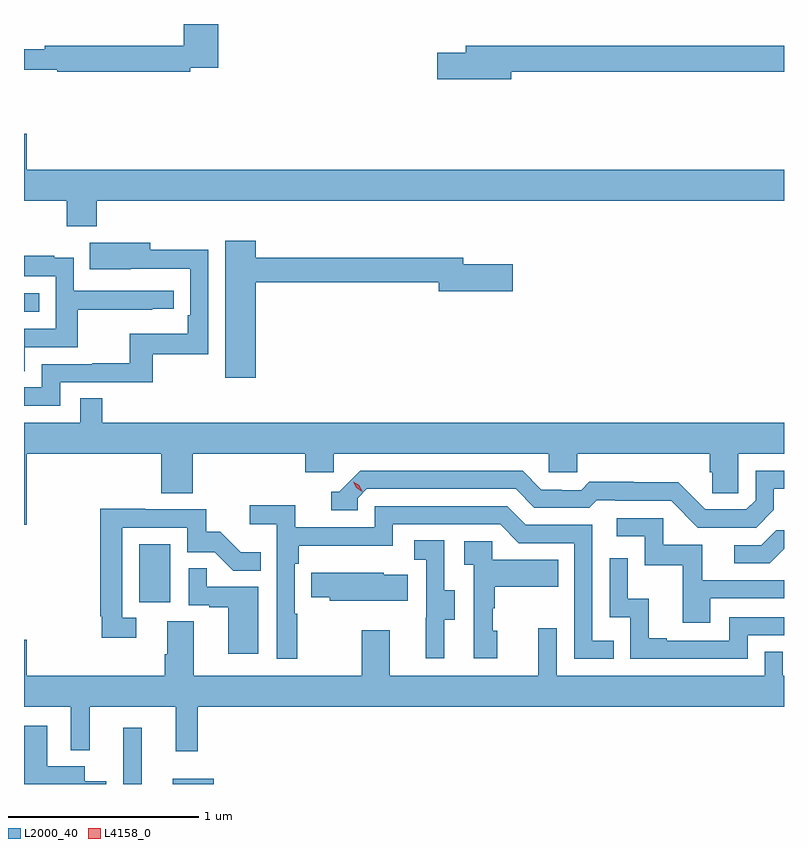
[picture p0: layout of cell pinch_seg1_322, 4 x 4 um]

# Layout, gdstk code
import gdstk
lib = gdstk.Library(unit=1e-6, precision=1e-09)
def R(c, l, rs):  # rectangles x0, y0, x1, y1
    for r in rs: c.add(gdstk.rectangle(r[:2], r[2:], *l))
def P(c, l, *ps):  # polygons
    for p in ps: c.add(gdstk.Polygon(p, *l))
L2000_40 = (2000, 40)
L4158_0 = (4158, 0)

pinch_seg1_322 = lib.new_cell('pinch_seg1_322')
R(pinch_seg1_322, L2000_40, [(992.853,555.322,992.95,555.619), (993.113,555.322,993.328,555.349), (992.936,556.278,993.1,556.585), (992.33,557.808,992.411,557.904)])
P(pinch_seg1_322, L2000_40, [(993.206,559.092),(993.353,559.092),(993.353,559.322),(993.17,559.322),(993.17,559.208),(992.44,559.208),(992.44,559.189),(992.33,559.189),(992.33,559.08),(992.506,559.08),(992.506,559.072),(993.206,559.072)],
  [(994.894,559.072),(996.33,559.072),(996.33,559.208),(994.655,559.208),(994.655,559.172),(994.506,559.172),(994.506,559.03),(994.894,559.03)],
  [(992.714,558.392),(996.33,558.392),(996.33,558.556),(992.344,558.556),(992.344,558.745),(992.33,558.745),(992.33,558.392),(992.554,558.392),(992.554,558.257),(992.714,558.257)],
  [(993.55,557.962),(994.514,557.962),(994.514,557.915),(994.903,557.915),(994.903,558.057),(994.642,558.057),(994.642,558.091),(993.55,558.091),(993.55,558.181),(993.389,558.181),(993.389,557.46),(993.55,557.46)],
  [(992.52,557.436),(993.007,557.436),(993.007,557.583),(993.3,557.583),(993.3,558.134),(992.995,558.134),(992.995,558.172),(992.677,558.172),(992.677,558.032),(992.891,558.032),(992.891,558.033),(993.204,558.033),(993.204,557.788),(993.191,557.788),(993.191,557.692),(992.886,557.692),(992.886,557.537),(992.689,557.537),(992.689,557.532),(992.424,557.532),(992.424,557.409),(992.33,557.409),(992.33,557.313),(992.52,557.313)],
  [(992.335,557.622),(992.612,557.622),(992.612,557.818),(993.005,557.818),(993.005,557.823),(993.118,557.823),(993.118,557.919),(992.592,557.919),(992.592,558.091),(992.489,558.091),(992.489,558.103),(992.33,558.103),(992.33,557.994),(992.496,557.994),(992.496,557.718),(992.33,557.718),(992.33,557.494),(992.335,557.494)],
  [(992.344,557.06),(993.053,557.06),(993.053,556.852),(993.218,556.852),(993.218,557.06),(993.809,557.06),(993.809,556.962),(993.96,556.962),(993.96,557.06),(995.091,557.06),(995.091,556.962),(995.241,556.962),(995.241,557.06),(995.939,557.06),(995.939,556.962),(995.953,556.962),(995.953,556.852),(996.09,556.852),(996.09,557.06),(996.33,557.06),(996.33,557.224),(992.741,557.224),(992.741,557.351),(992.625,557.351),(992.625,557.224),(992.33,557.224),(992.33,556.686),(992.344,556.686)],
  [(996.277,556.765),(996.277,556.875),(996.33,556.875),(996.33,556.971),(996.18,556.971),(996.18,556.815),(996.132,556.767),(995.916,556.767),(995.774,556.909),(995.538,556.909),(995.538,556.912),(995.305,556.912),(995.263,556.869),(995.16,556.869),(995.16,556.872),(995.053,556.872),(994.954,556.971),(994.101,556.971),(993.99,556.86),(993.947,556.86),(993.947,556.764),(994.086,556.764),(994.086,556.827),(994.134,556.875),(994.917,556.875),(995.016,556.776),(995.305,556.776),(995.344,556.815),(995.443,556.815),(995.443,556.812),(995.736,556.812),(995.877,556.671),(996.183,556.671)],
  [(993.769,556.217),(993.756,556.217),(993.756,556.481),(993.775,556.481),(993.775,556.577),(994.272,556.577),(994.272,556.689),(994.836,556.689),(994.935,556.59),(995.226,556.59),(995.226,555.981),(995.435,555.981),(995.435,556.077),(995.322,556.077),(995.322,556.686),(994.972,556.686),(994.873,556.785),(994.176,556.785),(994.176,556.674),(993.758,556.674),(993.758,556.79),(993.519,556.79),(993.519,556.688),(993.66,556.688),(993.66,555.981),(993.769,555.981)],
  [(992.92,556.197),(992.847,556.197),(992.847,556.671),(993.189,556.671),(993.189,556.542),(993.333,556.542),(993.431,556.444),(993.575,556.444),(993.575,556.543),(993.471,556.543),(993.364,556.65),(993.288,556.65),(993.288,556.767),(992.969,556.767),(992.969,556.772),(992.731,556.772),(992.731,556.204),(992.739,556.204),(992.739,556.092),(992.92,556.092)],
  [(995.941,556.299),(996.33,556.299),(996.33,556.395),(995.899,556.395),(995.899,556.581),(995.694,556.581),(995.694,556.722),(995.451,556.722),(995.451,556.626),(995.598,556.626),(995.598,556.473),(995.797,556.473),(995.797,556.17),(995.941,556.17)],
  [(996.33,556.559),(996.33,556.658),(996.29,556.658),(996.21,556.578),(996.069,556.578),(996.069,556.485),(996.256,556.485)],
  [(994.543,556.186),(994.597,556.186),(994.597,556.341),(994.542,556.341),(994.542,556.604),(994.383,556.604),(994.383,556.501),(994.446,556.501),(994.446,556.197),(994.445,556.197),(994.445,555.984),(994.543,555.984)],
  [(994.822,556.128),(994.797,556.128),(994.797,556.247),(994.807,556.247),(994.807,556.361),(995.141,556.361),(995.141,556.501),(994.794,556.501),(994.794,556.599),(994.647,556.599),(994.647,556.475),(994.698,556.475),(994.698,555.984),(994.822,555.984)],
  [(996.138,556.104),(996.33,556.104),(996.33,556.2),(996.042,556.2),(996.042,556.077),(995.713,556.077),(995.713,556.09),(995.618,556.09),(995.618,556.298),(995.508,556.298),(995.508,556.51),(995.412,556.51),(995.412,556.2),(995.52,556.2),(995.52,555.981),(996.138,555.981)],
  [(993.562,556.359),(993.293,556.359),(993.293,556.457),(993.198,556.457),(993.198,556.263),(993.305,556.263),(993.305,556.251),(993.404,556.251),(993.404,556.008),(993.562,556.008)],
  [(994.349,556.423),(994.224,556.423),(994.224,556.435),(993.841,556.435),(993.841,556.306),(993.939,556.306),(993.939,556.286),(994.349,556.286)],
  [(993.245,555.728),(996.33,555.728),(996.33,555.892),(996.324,555.892),(996.324,556.019),(996.228,556.019),(996.228,555.892),(995.133,555.892),(995.133,556.141),(995.036,556.141),(995.036,555.892),(994.255,555.892),(994.255,556.132),(994.108,556.132),(994.108,555.892),(993.223,555.892),(993.223,556.178),(993.083,556.178),(993.083,556.004),(993.071,556.004),(993.071,555.892),(992.344,555.892),(992.344,556.081),(992.33,556.081),(992.33,555.728),(992.577,555.728),(992.577,555.5),(992.675,555.5),(992.675,555.728),(993.128,555.728),(993.128,555.495),(993.245,555.495)],
  [(992.764,555.337),(992.65,555.337),(992.65,555.415),(992.452,555.415),(992.452,555.628),(992.33,555.628),(992.33,555.322),(992.764,555.322)])
P(pinch_seg1_322, L4158_0, [(994.11,556.861),(994.079,556.881),(994.064,556.913),(994.064,556.914),(994.064,556.914),(994.094,556.894),(994.11,556.861),(994.11,556.861)])

lib.write_gds('pinch_seg1_322.gds')
